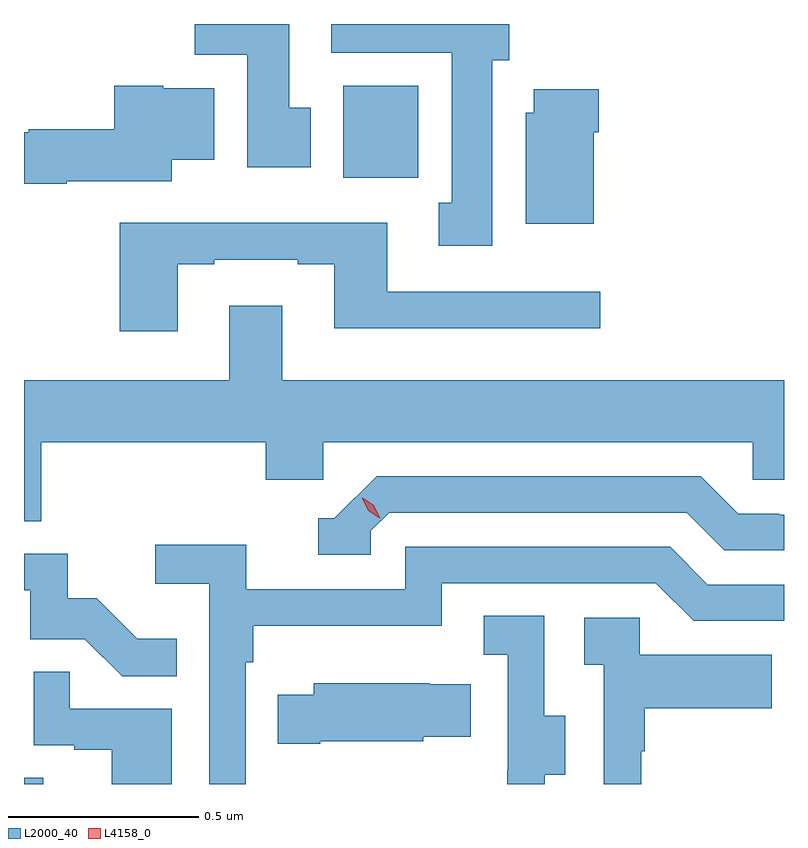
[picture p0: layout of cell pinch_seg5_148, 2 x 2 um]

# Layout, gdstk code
import gdstk
lib = gdstk.Library(unit=1e-6, precision=1e-09)
def R(c, l, rs):  # rectangles x0, y0, x1, y1
    for r in rs: c.add(gdstk.rectangle(r[:2], r[2:], *l))
def P(c, l, *ps):  # polygons
    for p in ps: c.add(gdstk.Polygon(p, *l))
L2000_40 = (2000, 40)
L4158_0 = (4158, 0)

pinch_seg5_148 = lib.new_cell('pinch_seg5_148')
R(pinch_seg5_148, L2000_40, [(1028.915,883.833,1028.965,883.85), (1029.755,885.428,1029.952,885.67)])
P(pinch_seg5_148, L2000_40, [(1029.67,885.612),(1029.613,885.612),(1029.613,885.833),(1029.364,885.833),(1029.364,885.752),(1029.503,885.752),(1029.503,885.456),(1029.67,885.456)],
  [(1030.147,885.738),(1030.192,885.738),(1030.192,885.833),(1029.723,885.833),(1029.723,885.758),(1030.04,885.758),(1030.04,885.362),(1030.007,885.362),(1030.007,885.249),(1030.147,885.249)],
  [(1029.028,885.419),(1029.304,885.419),(1029.304,885.476),(1029.415,885.476),(1029.415,885.664),(1029.282,885.664),(1029.282,885.67),(1029.152,885.67),(1029.152,885.556),(1028.928,885.556),(1028.928,885.548),(1028.915,885.548),(1028.915,885.412),(1029.028,885.412)],
  [(1030.414,885.548),(1030.427,885.548),(1030.427,885.661),(1030.256,885.661),(1030.256,885.6),(1030.235,885.6),(1030.235,885.308),(1030.414,885.308)],
  [(1029.319,885.201),(1029.415,885.201),(1029.415,885.213),(1029.635,885.213),(1029.635,885.201),(1029.731,885.201),(1029.731,885.032),(1030.432,885.032),(1030.432,885.129),(1029.871,885.129),(1029.871,885.31),(1029.167,885.31),(1029.167,885.024),(1029.319,885.024)],
  [(1028.96,884.732),(1029.551,884.732),(1029.551,884.634),(1029.702,884.634),(1029.702,884.732),(1030.833,884.732),(1030.833,884.634),(1030.915,884.634),(1030.915,884.896),(1029.595,884.896),(1029.595,885.091),(1029.455,885.091),(1029.455,884.896),(1028.915,884.896),(1028.915,884.524),(1028.96,884.524)],
  [(1029.828,884.499),(1029.876,884.547),(1030.659,884.547),(1030.758,884.448),(1030.915,884.448),(1030.915,884.541),(1030.902,884.541),(1030.902,884.544),(1030.795,884.544),(1030.696,884.643),(1029.843,884.643),(1029.732,884.532),(1029.689,884.532),(1029.689,884.436),(1029.828,884.436)],
  [(1029.498,884.153),(1029.518,884.153),(1029.518,884.249),(1030.014,884.249),(1030.014,884.361),(1030.578,884.361),(1030.677,884.262),(1030.915,884.262),(1030.915,884.358),(1030.714,884.358),(1030.615,884.457),(1029.918,884.457),(1029.918,884.346),(1029.5,884.346),(1029.5,884.462),(1029.261,884.462),(1029.261,884.36),(1029.402,884.36),(1029.402,883.833),(1029.498,883.833)],
  [(1029.317,884.215),(1029.213,884.215),(1029.106,884.322),(1029.03,884.322),(1029.03,884.439),(1028.915,884.439),(1028.915,884.343),(1028.931,884.343),(1028.931,884.214),(1029.075,884.214),(1029.173,884.116),(1029.317,884.116)],
  [(1030.285,883.858),(1030.339,883.858),(1030.339,884.013),(1030.284,884.013),(1030.284,884.276),(1030.125,884.276),(1030.125,884.173),(1030.188,884.173),(1030.188,883.869),(1030.187,883.869),(1030.187,883.833),(1030.285,883.833)],
  [(1030.539,883.919),(1030.549,883.919),(1030.549,884.033),(1030.883,884.033),(1030.883,884.173),(1030.536,884.173),(1030.536,884.271),(1030.389,884.271),(1030.389,884.147),(1030.44,884.147),(1030.44,883.833),(1030.539,883.833)],
  [(1029.304,884.031),(1029.035,884.031),(1029.035,884.129),(1028.94,884.129),(1028.94,883.935),(1029.047,883.935),(1029.047,883.923),(1029.146,883.923),(1029.146,883.833),(1029.304,883.833)],
  [(1029.694,883.946),(1029.966,883.946),(1029.966,883.958),(1030.091,883.958),(1030.091,884.095),(1029.983,884.095),(1029.983,884.098),(1029.677,884.098),(1029.677,884.068),(1029.583,884.068),(1029.583,883.939),(1029.694,883.939)])
P(pinch_seg5_148, L4158_0, [(1029.851,884.532),(1029.821,884.552),(1029.805,884.585),(1029.805,884.586),(1029.806,884.586),(1029.836,884.566),(1029.852,884.533),(1029.852,884.532)])

lib.write_gds('pinch_seg5_148.gds')
